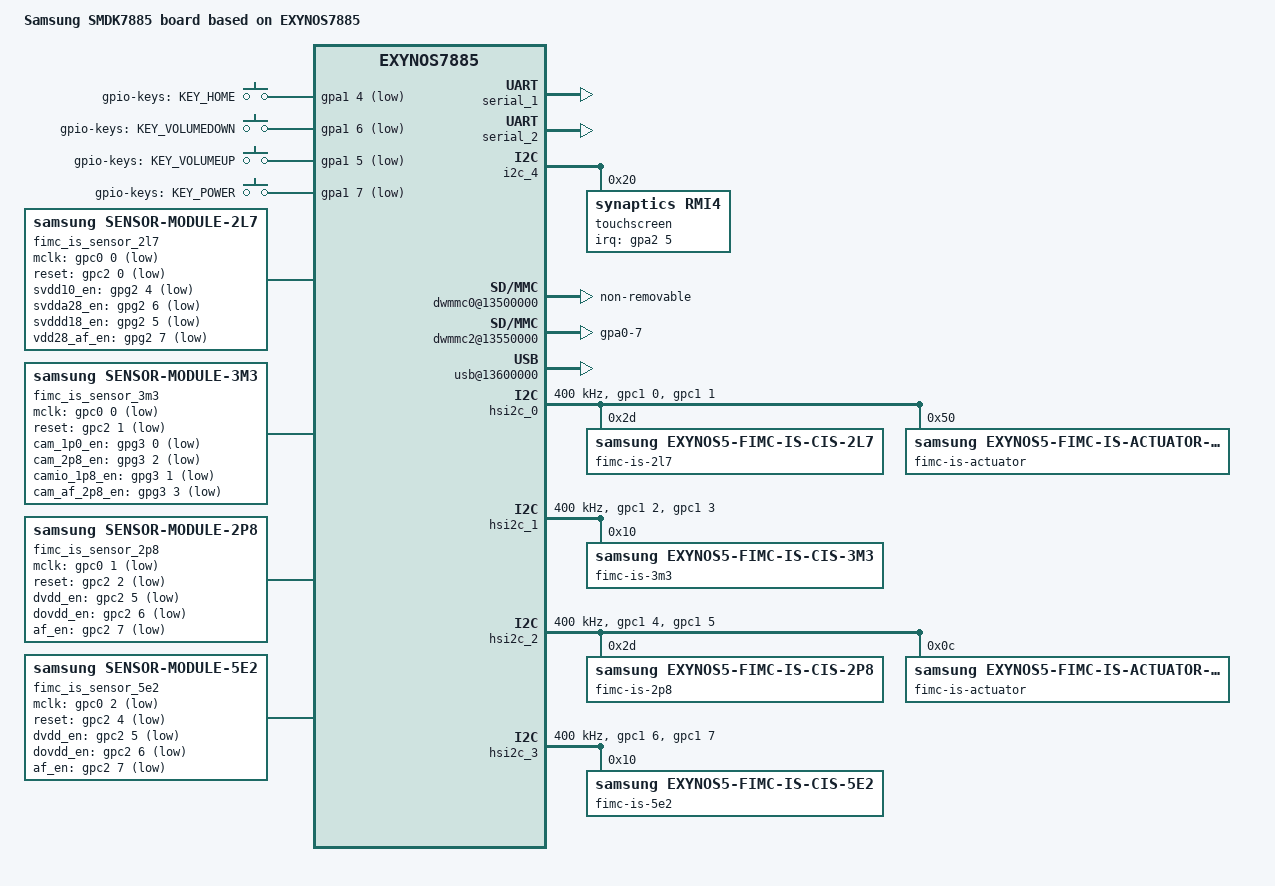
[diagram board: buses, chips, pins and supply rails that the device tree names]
/*
 * SAMSUNG UNIVERSAL7885 board device tree source
 *
 * Copyright (c) 2013 Samsung Electronics Co., Ltd.
 *		http://www.samsung.com
 *
 * This program is free software; you can redistribute it and/or modify
 * it under the terms of the GNU General Public License version 2 as
 * published by the Free Software Foundation.
*/

/dts-v1/;
#include "exynos7885-rmem.dtsi"
#include "exynos7885.dtsi"
#include "exynos7885-display-lcd.dtsi"
#include "modem-s327ap-sipc-pdata.dtsi"
#include "exynos7885-mali.dtsi"

/ {
	model = "Samsung SMDK7885 board based on EXYNOS7885";
	compatible = "samsung,exynos7885", "samsung,SMDK7885";

	memory@80000000 {
		device_type = "memory";

		reg = <0x0 0x80000000 0x80000000>;
	};
	memory@880000000 {
		device_type = "memory";
		reg = <0x00000008 0x80000000 0x40000000>;
	};

	chosen {
		bootargs = "console=ttySAC2 root=/dev/ram0 clk_ignore_unused androidboot.hardware=samsungexynos7885 androidboot.selinux=permissive ess_setup=0x86000000 ecd_setup=normal androidboot.debug_level=0x4948 firmware_class.path=/vendor/firmware reserve-fimc=0xffffff80fa000000 epx_activate=true";
		linux,initrd-start = <0x84000000>;
		linux,initrd-end = <0x840FFFFF>;
	};

	fixed-rate-clocks {
		oscclk {
			compatible = "samsung,exynos7885-oscclk";
			clock-frequency = <26000000>;
		};
	};

    /* USI MODE SETTINGS

       usi_mode = "hsi2c0" or "hsi2c1" or "spi" or "uart"
            or "hsi2c0_hsi2c1" or "uart_hsi2c1"
     */
    usi_2: usi@10032008 {
        usi_mode = "spi";
        status = "okay";
    };


	serial_1: uart@13810000 {
		status = "okay";
	};

	serial_2: uart@13820000 {
		status = "okay";
	};

	i2c_4:i2c@13870000 {
		status = "okay";
		#address-cells = <1>;
		#size-cells = <0>;
		touchscreen@20 {
			compatible = "synaptics,rmi4";
			reg = <0x20>;
			pinctrl-names = "on_state", "off_state";
			pinctrl-0 = <&attn_irq &vdd_on>;
			pinctrl-1 = <&attn_input &vdd_off>;
			synaptics,irq_gpio = <&gpa2 5 0>;
			synaptics,irq_type = <8200>;
			synaptics,max_coords = <1440 2560>;     /* x y */
			synaptics,num_lines = <29 16>;          /* rx tx */
		};
	};

	pinctrl@11CB0000 {
		attn_irq: attn-irq {
			samsung,pins = "gpa2-5";
			samsung,pin-function = <0xf>;
			samsung,pin-pud = <0>;
			samsung,pin-drv = <0>;
		};
		attn_input: attn-input {
			samsung,pins = "gpa2-5";
			samsung,pin-function = <0>;
			samsung,pin-pud = <1>;
		};
	};

	pinctrl@139B0000 {
		vdd_on: vdd-on {
			samsung,pins = "gpg2-2", "gpg2-3";
			samsung,pin-function = <1>;
			samsung,pin-val = <1>;
			samsung,pin-pud = <0>;
		};
		vdd_off: vdd-off {
			samsung,pins = "gpg2-2", "gpg2-3";
			samsung,pin-function = <0>;
			samsung,pin-val = <0>;
			samsung,pin-pud = <1>;
		};
	};

	pinctrl@11CB0000 {
		dwmmc2_cd_ext_irq: dwmmc2_cd_ext_irq {
			samsung,pins = "gpa0-7";
			samsung,pin-function = <0xf>;
			samsung,pin-pud = <3>;
			samsung,pin-drv = <3>;
		};
	};

	dwmmc0@13500000 {
		status = "okay";
		num-slots = <1>;
		broken-cd;
		fixed_voltage;
		supports-highspeed;
		mmc-ddr-1_8v;
		mmc-hs200-1_8v;
		mmc-hs400-1_8v;
		supports-8bit;
		supports-cmd23;
		supports-erase;
		supports-hs400-enhanced-strobe;
		card-init-hwacg-ctrl;
		support-cmdq;
		fifo-depth = <0x40>;
		non-removable;
		desc-size = <4>;
		card-detect-delay = <200>;
		data-timeout = <200>;
		hto-timeout = <80>;
		samsung,dw-mshc-ciu-div = <3>;
		samsung,dw-mshc-txdt-crc-timer-fastlimit = <0x13>;
		samsung,dw-mshc-txdt-crc-timer-initval = <0x15>;
		samsung,dw-mshc-hs400-delay-line = <0x60>;
		samsung,dw-mshc-sdr-timing = <3 0 4 0>;
		samsung,dw-mshc-ddr-timing = <3 0 4 2>;
		samsung,dw-mshc-hs200-timing = <3 0 3 0>;
		samsung,dw-mshc-hs400-timing = <1 0 4 0>;
		samsung,dw-mshc-hs400-ulp-timing = <3 0 4 0>;

		num-ref-clks = <12>;
		ciu_clkin = <25 50 50 25 50 100 200 50 50 200 200 200>;

		/* Swapping clock drive strength */
		clk-drive-number = <4>;
		pinctrl-names = "default",
			"fast-slew-rate-1x",
			"fast-slew-rate-2x",
			"fast-slew-rate-3x",
			"fast-slew-rate-4x";
		pinctrl-0 = <&sd0_clk &sd0_cmd &sd0_rdqs &sd0_bus1 &sd0_bus4 &sd0_bus8>;
		pinctrl-1 = <&sd0_clk_fast_slew_rate_1x>;
		pinctrl-2 = <&sd0_clk_fast_slew_rate_2x>;
		pinctrl-3 = <&sd0_clk_fast_slew_rate_3x>;
		pinctrl-4 = <&sd0_clk_fast_slew_rate_4x>;
		slot@0 {
			reg = <0>;
			bus-width = <8>;
		};

	};

	dwmmc1@13510000 {
		status = "disabled";
		num-slots = <1>;
		channel = <1>;
		fixed_voltage;
		enable-cclk-on-suspend;
		caps-control;
		supports-highspeed;
		supports-4bit;
		keep-power-in-suspend;
		pm-ignore-notify;
		card-detect-type-external;
		use-broken-voltage;
		use-fine-tuning;
		ignore-phase = <(1 << 7)>;
		fifo-depth = <0x40>;
		card-detect-delay = <200>;
		data-timeout = <200>;
		hto-timeout = <80>;
		samsung,dw-mshc-ciu-div = <3>;
		samsung,dw-mshc-sdr-timing = <3 0 2 0>;
		samsung,dw-mshc-ddr-timing = <3 0 2 1>;
		samsung,dw-mshc-sdr50-timing = <3 0 4 2>;
		samsung,dw-mshc-sdr104-timing = <3 0 3 0>;

		num-ref-clks = <9>;
		ciu_clkin = <25 50 50 25 50 100 200 50 50>;

		clk-drive-number = <4>;
		pinctrl-names = "default",
			"fast-slew-rate-1x",
			"fast-slew-rate-2x",
			"fast-slew-rate-3x",
			"fast-slew-rate-4x";
		pinctrl-0 = <&sd1_clk &sd1_cmd &sd1_bus1 &sd1_bus4>;
		pinctrl-1 = <&sd1_clk_fast_slew_rate_1x>;
		pinctrl-2 = <&sd1_clk_fast_slew_rate_2x>;
		pinctrl-3 = <&sd1_clk_fast_slew_rate_3x>;
		pinctrl-4 = <&sd1_clk_fast_slew_rate_4x>;
		slot@0 {
			reg = <0>;
			bus-width = <4>;
		};
	};

	dwmmc2@13550000 {
		status = "okay";
		num-slots = <1>;
		supports-4bit;
		supports-cmd23;
		supports-erase;
		sd-uhs-sdr50;
		sd-uhs-sdr104;
		card-detect-gpio;
		bypass-for-allpass;
		use-fine-tuning;
		card-init-hwacg-ctrl;
		only_once_tune;
		skip-init-mmc-scan;
		ignore-phase = <(1 << 7)>;
		fifo-depth = <0x40>;
		desc-size = <4>;
		card-detect-delay = <200>;
		data-timeout = <200>;
		hto-timeout = <80>;
		samsung,dw-mshc-ciu-div = <3>;
		clock-frequency = <800000000>;
		samsung,dw-mshc-sdr-timing = <3 0 2 0>;
		samsung,dw-mshc-ddr-timing = <3 0 2 1>;
		samsung,dw-mshc-sdr50-timing = <3 0 4 2>;
		samsung,dw-mshc-sdr104-timing = <3 0 3 0>;

		num-ref-clks = <9>;
		ciu_clkin = <25 50 50 25 50 100 200 50 50>;

		/* Swapping clock drive strength */
		clk-drive-number = <4>;
		pinctrl-names = "default",
			"fast-slew-rate-1x",
			"fast-slew-rate-2x",
			"fast-slew-rate-3x",
			"fast-slew-rate-4x";
		pinctrl-0 = <&sd2_clk &sd2_cmd &sd2_bus1 &sd2_bus4 &dwmmc2_cd_ext_irq>;
		pinctrl-1 = <&sd2_clk_fast_slew_rate_1x>;
		pinctrl-2 = <&sd2_clk_fast_slew_rate_2x>;
		pinctrl-3 = <&sd2_clk_fast_slew_rate_3x>;
		pinctrl-4 = <&sd2_clk_fast_slew_rate_4x>;

		card-detect = <&gpa0 7 0xf>;
		slot@0 {
			reg = <0>;
			bus-width = <4>;
			disable-wp;
		};
	};

	dsim_0: dsim@0x14870000 {
		lcd_info = <&s6e3fa0>;
		decon_board = <&decon_board>;
	};

	decon_f: decon_f@0x14860000 {
		psr_mode = <2>;	/* 0: video mode, 1: DP command mode, 2: MIPI command mode */
		trig_mode = <0>;	/* 0: hw trigger, 1: sw trigger */
		dsi_mode = <0>;	/* 0: single dsi, 1: dual dsi */
	};

	decon_board: decon_board {
		gpio_lcd_en1 = <&gpg1 7 0x1>;
		gpio_lcd_en2 = <&gpg2 0 0x1>;
		gpio_lcd_en3 = <&gpg2 1 0x1>;
		gpio_lcd_rst = <&gpg1 1 0x1>;

		dsim_set_panel_power_enable {
			type =
			"gpio,high",	"gpio_lcd_en1",
			"delay,usleep",	"5000 6000",
			"gpio,high",	"gpio_lcd_en2",
			"delay,usleep",	"5000 6000",
			"gpio,high",	"gpio_lcd_en3",
			"delay,usleep",	"5000 6000";
		};
		dsim_set_panel_power_disable {
			type =
			"gpio,low",	"gpio_lcd_rst",
			"gpio,low",	"gpio_lcd_en1",
			"delay,usleep",	"5000 6000",
			"gpio,low",	"gpio_lcd_en2",
			"delay,usleep",	"5000 6000",
			"gpio,low",	"gpio_lcd_en3",
			"delay,usleep",	"5000 6000";
		};
		dsim_reset_panel {
			type =
			"delay,usleep",	"5000 6000",
			"gpio,low",	"gpio_lcd_rst",
			"delay,usleep",	"5000 6000",
			"gpio,high",	"gpio_lcd_rst",
			"delay,usleep",	"5000 6000";
		};
	};

	pinctrl@11CB0000 {
		key_power: key-power {
			samsung,pins = "gpa1-7";
			samsung,pin-function = <0xf>;
			samsung,pin-pud = <0>;
			samsung,pin-drv = <0>;
		};

		key_home: key-home {
			samsung,pins = "gpa1-4";
			samsung,pin-function = <0xf>;
			samsung,pin-pud = <0>;
			samsung,pin-drv = <0>;
		};

		key_voldown: key-voldown {
			samsung,pins = "gpa1-6";
			samsung,pin-function = <0xf>;
			samsung,pin-pud = <0>;
			samsung,pin-drv = <0>;
		};

		key_volup: key-volup {
			samsung,pins = "gpa1-5";
			samsung,pin-function = <0xf>;
			samsung,pin-pud = <0>;
			samsung,pin-drv = <0>;
		};

		pmic_irq: pmic-irq {
			samsung,pins = "gpa2-0";
			samsung,pin-pud = <3>;
			samsung,pin-drv = <3>;
		};
	};

	gpio_keys {
		status = "okay";
		compatible = "gpio-keys";
		#address-cells = <1>;
		#size-cells = <0>;
		pinctrl-names = "default";
		pinctrl-0 = <&key_home &key_voldown &key_volup &key_power>;
		button@1 {
			label = "gpio-keys: KEY_HOME";
			interrupts = <4 0 0>;
			interrupt-parent = <&gpa1>;
			linux,code = <172>;
			gpios = <&gpa1 4 0xf>;
			gpio-key,wakeup = <1>;
		};
		button@2 {
			label = "gpio-keys: KEY_VOLUMEDOWN";
			interrupts = <6 0 0>;
			interrupt-parent = <&gpa1>;
			linux,code = <114>;
			gpios = <&gpa1 6 0xf>;
		};
		button@3 {
			label = "gpio-keys: KEY_VOLUMEUP";
			interrupts = <5 0 0>;
			interrupt-parent = <&gpa1>;
			linux,code = <115>;
			gpios = <&gpa1 5 0xf>;
		};
		button@4 {
			label = "gpio-keys: KEY_POWER";
			interrupts = <7 0 0>;
			interrupt-parent = <&gpa1>;
			linux,code = <116>;
			gpios = <&gpa1 7 0xf>;
			gpio-key,wakeup = <1>;
		};
	};


	pinctrl@139B0000 {
		/* Warm reset information from AP */
		pm_wrsti: pm-wrsti {
			samsung,pins = "gpg1-6";
			samsung,pin-con-pdn = <3>;
		};
	};

	speedy@11CE0000 {
		status = "okay";

		s2mpu08mfd@00 {
			compatible = "samsung,s2mpu08mfd";
			acpm-ipc-channel = <2>;
			i2c-speedy-address;
			s2mpu08,wakeup = "enabled";
			s2mpu08,irq-gpio = <&gpa2 0 0>;
			reg = <0x00>;
			interrupts = <2 0 0>;
			interrupt-parent = <&gpa2>;
			pinctrl-names = "default";
			pinctrl-0 = <&pmic_irq &pm_wrsti>;
			/* RTC: wtsr/smpl */
			wtsr_en = "enabled"; /* enable */
			smpl_en = "enabled"; /* enable */
			wtsr_timer_val = <3>;	/* 1000ms */
			smpl_timer_val = <4>;	/* 500ms */
			check_jigon = <0>; /* do not check jigon */
			/* RTC: If it's first boot, reset rtc to 1/1/2017 12:00:00(Sun) */
			init_time,sec = <0>;
			init_time,min = <0>;
			init_time,hour = <12>;
			init_time,mday = <1>;
			init_time,mon = <0>;
			init_time,year = <117>;
			init_time,wday = <0>;

			regulators {
				b1_reg: BUCK1 {
					regulator-name = "vdd_mif";
					regulator-min-microvolt = <500000>;
					regulator-max-microvolt = <1100000>;
					regulator-always-on;
					regulator-ramp-delay = <12000>;
					regulator-initial-mode = <2>;
				};

				b2_reg: BUCK2 {
					regulator-name = "vdd_cpucl0";
					regulator-min-microvolt = <500000>;
					regulator-max-microvolt = <1300000>;
					regulator-always-on;
					regulator-ramp-delay = <12000>;
					regulator-initial-mode = <1>;
				};

				b3_reg: BUCK3 {
					regulator-name = "vdd_cpucl1_2";
					regulator-min-microvolt = <500000>;
					regulator-max-microvolt = <1300000>;
					regulator-always-on;
					regulator-ramp-delay = <12000>;
					regulator-initial-mode = <1>;
				};

				b4_reg: BUCK4{
					regulator-name = "vdd_int";
					regulator-min-microvolt = <500000>;
					regulator-max-microvolt = <1200000>;
					regulator-always-on;
					regulator-ramp-delay = <12000>;
					regulator-initial-mode = <2>;
				};

				b5_reg: BUCK5 {
					regulator-name = "vdd_g3d";
					regulator-min-microvolt = <500000>;
					regulator-max-microvolt = <1300000>;
					regulator-always-on;
					regulator-ramp-delay = <12000>;
					regulator-initial-mode = <1>;
				};

				b6_reg: BUCK6 {
					regulator-name = "vdd2_mem";
					regulator-min-microvolt = <500000>;
					regulator-max-microvolt = <1300000>;
					regulator-always-on;
					regulator-ramp-delay = <12000>;
					regulator-initial-mode = <3>;
				};

				b7_reg: BUCK7 {
					regulator-name = "vdd_lldo";
					regulator-min-microvolt = <1200000>;
					regulator-max-microvolt = <1500000>;
					regulator-always-on;
					regulator-ramp-delay = <12000>;
					regulator-initial-mode = <3>;
				};

				b8_reg: BUCK8 {
					regulator-name = "vdd_mldo";
					regulator-min-microvolt = <1800000>;
					regulator-max-microvolt = <2100000>;
					regulator-always-on;
					regulator-ramp-delay = <12000>;
					regulator-initial-mode = <3>;
				};

				l1_reg: LDO1 {
					regulator-name = "vdd_ldo1";
					regulator-min-microvolt = <700000>;
					regulator-max-microvolt = <1300000>;
					regulator-always-on;
					regulator-ramp-delay = <12000>;
					regulator-initial-mode = <3>;
				};

				l2_reg: LDO2 {
					regulator-name = "vqmmc";
					regulator-min-microvolt = <1800000>;
					regulator-max-microvolt = <3375000>;
					regulator-ramp-delay = <12000>;
				};

				l3_reg: LDO3 {
					regulator-name = "vdd_ldo3";
					regulator-min-microvolt = <800000>;
					regulator-max-microvolt = <1950000>;
					regulator-always-on;
					regulator-ramp-delay = <12000>;
					regulator-initial-mode = <3>;
				};

				l4_reg: LDO4 {
					regulator-name = "vdd_ldo4";
					regulator-min-microvolt = <500000>;
					regulator-max-microvolt = <1300000>;
					regulator-always-on;
					regulator-ramp-delay = <12000>;
					regulator-initial-mode = <1>;
				};

				l5_reg: LDO5 {
					regulator-name = "vdd_ldo5";
					regulator-min-microvolt = <800000>;
					regulator-max-microvolt = <1350000>;
					regulator-always-on;
					regulator-ramp-delay = <12000>;
					regulator-initial-mode = <3>;
				};

				l6_reg: LDO6 {
					regulator-name = "vdd_ldo6";
					regulator-min-microvolt = <800000>;
					regulator-max-microvolt = <1350000>;
					regulator-always-on;
					regulator-ramp-delay = <12000>;
					regulator-initial-mode = <3>;
				};

				l7_reg: LDO7 {
					regulator-name = "vdd_ldo7";
					regulator-min-microvolt = <800000>;
					regulator-max-microvolt = <1950000>;
					regulator-always-on;
					regulator-ramp-delay = <12000>;
					regulator-initial-mode = <3>;
				};

				l8_reg: LDO8 {
					regulator-name = "vdd_ldo8";
					regulator-min-microvolt = <500000>;
					regulator-max-microvolt = <1300000>;
					regulator-always-on;
					regulator-ramp-delay = <12000>;
					regulator-initial-mode = <3>;
				};

				l9_reg: LDO9 {
					regulator-name = "vdd_ldo9";
					regulator-min-microvolt = <500000>;
					regulator-max-microvolt = <1300000>;
					regulator-always-on;
					regulator-ramp-delay = <12000>;
					regulator-initial-mode = <1>;
				};

				l10_reg: LDO10 {
					regulator-name = "vdd_ldo10";
					regulator-min-microvolt = <500000>;
					regulator-max-microvolt = <1300000>;
					regulator-always-on;
					regulator-ramp-delay = <12000>;
					regulator-initial-mode = <3>;
				};

				l11_reg: LDO11 {
					regulator-name = "vdd_ldo11";
					regulator-min-microvolt = <500000>;
					regulator-max-microvolt = <1300000>;
					regulator-always-on;
					regulator-ramp-delay = <12000>;
					regulator-initial-mode = <3>;
				};

				l12_reg: LDO12 {
					regulator-name = "vdd_ldo12";
					regulator-min-microvolt = <800000>;
					regulator-max-microvolt = <1350000>;
					regulator-always-on;
					regulator-ramp-delay = <12000>;
					regulator-initial-mode = <3>;
				};

				l13_reg: LDO13 {
					regulator-name = "vdd_ldo13";
					regulator-min-microvolt = <800000>;
					regulator-max-microvolt = <1950000>;
					regulator-always-on;
					regulator-ramp-delay = <12000>;
					regulator-initial-mode = <3>;
				};

				l14_reg: LDO14 {
					regulator-name = "vdd_ldo14";
					regulator-min-microvolt = <1800000>;
					regulator-max-microvolt = <3375000>;
					regulator-always-on;
					regulator-ramp-delay = <12000>;
					regulator-initial-mode = <3>;
				};

				l33_reg: LDO33 {
					regulator-name = "vdd_ldo33";
					regulator-min-microvolt = <800000>;
					regulator-max-microvolt = <1950000>;
					regulator-always-on;
					regulator-ramp-delay = <12000>;
					regulator-initial-mode = <3>;
				};

				l34_reg: LDO34 {
					regulator-name = "vdd_ldo34";
					regulator-min-microvolt = <1800000>;
					regulator-max-microvolt = <3375000>;
					regulator-always-on;
					regulator-ramp-delay = <12000>;
					regulator-initial-mode = <3>;
				};

				l35_reg: LDO35 {
					regulator-name = "vmmc";
					regulator-min-microvolt = <1800000>;
					regulator-max-microvolt = <3375000>;
					regulator-ramp-delay = <12000>;
				};

				l36_reg: LDO36 {
					regulator-name = "vdd_ldo36";
					regulator-min-microvolt = <800000>;
					regulator-max-microvolt = <1950000>;
					regulator-ramp-delay = <12000>;
				};

				l37_reg: LDO37 {
					regulator-name = "vdd_ldo37";
					regulator-min-microvolt = <1800000>;
					regulator-max-microvolt = <3375000>;
					regulator-ramp-delay = <12000>;
				};
			};
		};
	};

	exynos_rgt {
		compatible = "samsung,exynos-rgt";
	};

	usb@13600000 {
		status = "okay";
		dwc3 {
			dr_mode = "otg";
			maximum-speed = "high-speed";
		};
	};

	phy@135D0000 {
		status = "okay";

		hs_tune_info = <&usb_hs_tune>;
		ss_tune_info = <&usb_ss_tune>;
	};

	usb_hs_tune:hs_tune {
		status = "disabled";
		/* value = <device host> */
		tx_vref = <0x3 0x3>;
		tx_pre_emp = <0x0 0x0>;
		tx_pre_emp_puls = <0x0 0x0>;
		tx_res	= <0x2 0x2>;
		tx_rise = <0x1 0x1>;
		tx_hsxv = <0x0 0x0>;
		tx_fsls = <0x3 0x3>;
		rx_sqrx = <0x5 0x5>;
		compdis	= <0x3 0x3>;
		otg= <0x2 0x2>;
		/* true : 1, false: 0 */
		/* <enable_user_imp user_imp_value> */
		enable_user_imp = <0 0>;
		/* PHY clk : 1 , FREE clk : 0 */
		is_phyclock = <1>;
	};

	usb_ss_tune:ss_tune {
		status = "disabled";
		/* value = <device host> */
		tx_boost_level = <0x4 0x4>;
		tx_swing_level = <0x1 0x1>;
		tx_swing_full = <0x7F 0x7F>;
		tx_swing_low = <0x7F 0x7F>;
		tx_deemphasis_mode = <0x1 0x1>;
		tx_deemphasis_3p5db = <0x18 0x18>;
		tx_deemphasis_6db = <0x18 0x18>;
		enable_ssc = <0x1 0x1>;
		ssc_range = <0x0 0x1>;
		los_bias = <0x5 0x5>;
		los_mask_val = <0x104 0x104>;
		enable_fixed_rxeq_mode = <0x0 0x0>;
		fix_rxeq_value = <0x4 0x4>;
		set_crport_mpll_charge_pump = <0x0 0x0>;
		set_crport_level_en = <0x0 0x0>;
	};

	mailbox_cp: mcu_ipc@12080000 {
		compatible = "samsung,exynos-shd-ipc-mailbox";
		reg = <0x0 0x12080000 0x180>;
		mcu,name = "mcu_ipc_cp";
		mcu,id = <0>;
		interrupts = <0 55 0 >; /* MAILBOX_CP_TO_AP SPI Number */
	};

	mailbox_gnss: mcu_ipc@120D0000 {
		compatible = "samsung,exynos-shd-ipc-mailbox";
		reg = <0x0 0x120D0000 180>;
		mcu,name = "mcu_ipc_gnss";
		mcu,id = <1>;
		interrupts = <GIC_SPI 56 IRQ_TYPE_NONE>;
	};

	gnss_pdata {
		status = "okay";

		compatible = "samsung,gnss_shdmem_if";
		shmem,name = "KEPLER";
		shmem,device_node_name = "gnss_ipc";

		/* ACTIVE WATCHDOG WAKEUP */
		interrupts = <GIC_SPI 20 IRQ_TYPE_NONE>,
			     <GIC_SPI 165 IRQ_TYPE_NONE>,
			     <GIC_SPI 164 IRQ_TYPE_NONE>;
		interrupt-names = "ACTIVE", "WATCHDOG", "WAKEUP";

		memory-region = <&gnss_reserved>;
		mbox_info = <&mailbox_gnss>;

		mbx,int_ap2gnss_bcmd = <0>;
		mbx,int_ap2gnss_req_fault_info = <1>;
		mbx,int_ap2gnss_ipc_msg = <2>;
		mbx,int_ap2gnss_ack_wake_set = <3>;
		mbx,int_ap2gnss_ack_wake_clr = <4>;

		mbx,irq_gnss2ap_bcmd = <0>;
		mbx,irq_gnss2ap_rsp_fault_info = <1>;
		mbx,irq_gnss2ap_ipc_msg = <2>;
		mbx,irq_gnss2ap_req_wake_clr = <4>;

		mbx,reg_bcmd_ctrl = <0>, <1>, <2>, <3>;

		reg_rx_ipc_msg = <1 5>;
		reg_tx_ipc_msg = <1 4>;
		reg_rx_head = <1 3>;
		reg_rx_tail = <1 2>;
		reg_tx_head = <1 1>;
		reg_tx_tail = <1 0>;
		fault_info = <1 0x200000 0x180000>;

		shmem,ipc_offset = <0x380000>;
		shmem,ipc_size = <0x80000>;
		shmem,ipc_reg_cnt = <32>;
	};

	pinctrl@139B0140 {
		fimc_is_flash: fimc_is_flash {
			samsung,pins = "gpg1-2";
			samsung,pin-function = <1>;
			samsung,pin-val = <1>;
			samsung,pin-pud = <0>;
		};
	};

	fimc_is@14450000 {
		pinctrl-names = "default","release";
		pinctrl-0 = <>;
		pinctrl-1 = <>;

		rear_sensor_id = <35>; /* 2L7 */
		front_sensor_id = <20>; /* 2P8 */
		use_module_check;
		skip_cal_loading;
		fimc_is_dvfs {
			/* TODO: DVFS level set */
			#define DVFS_INT_L0 533000
			#define DVFS_INT_L1 333000
			#define DVFS_INT_L2 267000
			#define DVFS_INT_L3 133000
			#define DVFS_INT_L4 107000

			#define DVFS_CAM_L0 690000
			#define DVFS_CAM_L1 680000
			#define DVFS_CAM_L2 670000
			#define DVFS_CAM_L3 660000
			#define DVFS_CAM_L4 650000

			#define DVFS_MIF_L0 2093000
			#define DVFS_MIF_L1 2002000
			#define DVFS_MIF_L2 1794000
			#define DVFS_MIF_L3 1539000
			#define DVFS_MIF_L4 1352000
			#define DVFS_MIF_L5 1014000
			#define DVFS_MIF_L6 845000
			#define DVFS_MIF_L7 676000
			#define DVFS_MIF_L8 546000
			#define DVFS_MIF_L9 420000

			table0 {
				desc = "default";

				default_int = <DVFS_INT_L0>;
				default_cam = <DVFS_CAM_L0>;
				default_mif = <DVFS_MIF_L5>;
				default_i2c = <0>;

				front_preview_int = <DVFS_INT_L0>;
				front_preview_cam = <DVFS_CAM_L3>;
				front_preview_mif = <DVFS_MIF_L5>;
				front_preview_i2c = <0>;

				front_video_int = <DVFS_INT_L0>;
				front_video_cam = <DVFS_CAM_L3>;
				front_video_mif = <DVFS_MIF_L5>;
				front_video_i2c = <0>;

				front_vt1_int = <DVFS_INT_L0>;
				front_vt1_cam = <DVFS_CAM_L3>;
				front_vt1_mif = <DVFS_MIF_L5>;
				front_vt1_i2c = <0>;

				front_vt2_int = <DVFS_INT_L0>;
				front_vt2_cam = <DVFS_CAM_L3>;
				front_vt2_mif = <DVFS_MIF_L5>;
				front_vt2_i2c = <0>;

				front_vt4_int = <DVFS_INT_L0>;
				front_vt4_cam = <DVFS_CAM_L3>;
				front_vt4_mif = <DVFS_MIF_L5>;
				front_vt4_i2c = <0>;

				rear_preview_int = <DVFS_INT_L0>;
				rear_preview_cam = <DVFS_CAM_L0>;
				rear_preview_mif = <DVFS_MIF_L5>;
				rear_preview_i2c = <0>;

				rear_video_int = <DVFS_INT_L0>;
				rear_video_cam = <DVFS_CAM_L0>;
				rear_video_mif = <DVFS_MIF_L5>;
				rear_video_i2c = <0>;

				preview_high_speed_fps_int = <DVFS_INT_L0>;
				preview_high_speed_fps_cam = <DVFS_CAM_L3>;
				preview_high_speed_fps_mif = <DVFS_MIF_L5>;
				preview_high_speed_fps_i2c = <0>;

				video_high_speed_60fps_int = <DVFS_INT_L0>;
				video_high_speed_60fps_cam = <DVFS_CAM_L2>;
				video_high_speed_60fps_mif = <DVFS_MIF_L5>;
				video_high_speed_60fps_i2c = <0>;

				video_high_speed_120fps_int = <DVFS_INT_L0>;
				video_high_speed_120fps_cam = <DVFS_CAM_L3>;
				video_high_speed_120fps_mif = <DVFS_MIF_L5>;
				video_high_speed_120fps_i2c = <0>;

				max_int = <DVFS_INT_L0>;
				max_cam = <DVFS_CAM_L0>;
				max_mif = <DVFS_MIF_L5>;
				max_i2c = <0>;
			};

			table1 {
				desc = "DVFS table for HAL3";

				default_int = <DVFS_INT_L0>;
				default_cam = <DVFS_CAM_L0>;
				default_mif = <DVFS_MIF_L5>;
				default_i2c = <0>;

				front_preview_int = <DVFS_INT_L0>;
				front_preview_cam = <DVFS_CAM_L3>;
				front_preview_mif = <DVFS_MIF_L5>;
				front_preview_i2c = <0>;

				front_video_int = <DVFS_INT_L0>;
				front_video_cam = <DVFS_CAM_L3>;
				front_video_mif = <DVFS_MIF_L5>;
				front_video_i2c = <0>;

				front_vt1_int = <DVFS_INT_L0>;
				front_vt1_cam = <DVFS_CAM_L3>;
				front_vt1_mif = <DVFS_MIF_L5>;
				front_vt1_i2c = <0>;

				front_vt2_int = <DVFS_INT_L0>;
				front_vt2_cam = <DVFS_CAM_L3>;
				front_vt2_mif = <DVFS_MIF_L5>;
				front_vt2_i2c = <0>;

				front_vt4_int = <DVFS_INT_L0>;
				front_vt4_cam = <DVFS_CAM_L3>;
				front_vt4_mif = <DVFS_MIF_L5>;
				front_vt4_i2c = <0>;

				rear_preview_int = <DVFS_INT_L0>;
				rear_preview_cam = <DVFS_CAM_L0>;
				rear_preview_mif = <DVFS_MIF_L5>;
				rear_preview_i2c = <0>;

				rear_video_int = <DVFS_INT_L0>;
				rear_video_cam = <DVFS_CAM_L0>;
				rear_video_mif = <DVFS_MIF_L5>;
				rear_video_i2c = <0>;

				preview_high_speed_fps_int = <DVFS_INT_L0>;
				preview_high_speed_fps_cam = <DVFS_CAM_L3>;
				preview_high_speed_fps_mif = <DVFS_MIF_L5>;
				preview_high_speed_fps_i2c = <0>;

				video_high_speed_60fps_int = <DVFS_INT_L0>;
				video_high_speed_60fps_cam = <DVFS_CAM_L3>;
				video_high_speed_60fps_mif = <DVFS_MIF_L5>;
				video_high_speed_60fps_i2c = <0>;

				video_high_speed_120fps_int = <DVFS_INT_L0>;
				video_high_speed_120fps_cam = <DVFS_CAM_L3>;
				video_high_speed_120fps_mif = <DVFS_MIF_L5>;
				video_high_speed_120fps_i2c = <0>;

				max_int = <DVFS_INT_L0>;
				max_cam = <DVFS_CAM_L0>;
				max_mif = <DVFS_MIF_L5>;
				max_i2c = <0>;
			};
		};
	};

	fimc_is_sensor_2l7: fimc-is_sensor_2l7@20 {
		compatible = "samsung,sensor-module-2l7";

		pinctrl-names = "pin0", "pin1", "pin2", "release";
		pinctrl-0 = <>;
		pinctrl-1 = <&fimc_is_mclk0_out>;
		pinctrl-2 = <&fimc_is_mclk0_fn>;
		pinctrl-3 = <>;

		position = <0>;	/* Rear:0. Front:1 */
		id = <0>; /* bns_id */
		mclk_ch = <0>;

		gpio_mclk = <&gpc0 0 0x1>;
		gpio_reset = <&gpc2 0 0x1>; /* sensor reset */
		gpio_svdd10_en = <&gpg2 4 0x1>; /* CAM_SVDD10_EN */
		gpio_svdda28_en = <&gpg2 6 0x1>; /* CAM_SVDDA28_EN */
		gpio_svddd18_en = <&gpg2 5 0x1>; /* CAM_SVDDD18_EN */
		gpio_vdd28_af_en = <&gpg2 7 0x1>; /* CAM_SVDDD18_EN */
		status = "okay";

		/* TODO: AF, Flash node */
		af {
			product_name = <12>; /* ak7371 */
			i2c_addr = <0x18>;
			i2c_ch = <0>; /* I2C 0 */
		};

	};

	fimc_is_sensor_3m3: fimc-is_sensor_3m3@20 {
		compatible = "samsung,sensor-module-3m3";

		pinctrl-names = "pin0", "pin1", "pin2", "release";
		pinctrl-0 = <>;
		pinctrl-1 = <&fimc_is_mclk0_out>;
		pinctrl-2 = <&fimc_is_mclk0_fn>;
		pinctrl-3 = <>;

		position = <3>;	/* Rear:0. Front:1 */
		id = <1>; /* bns_id */
		mclk_ch = <0>;

		gpio_mclk = <&gpc0 0 0x1>;
		gpio_reset = <&gpc2 1 0x1>; /* sensor reset */
		gpio_cam_1p0_en = <&gpg3 0 0x1>; /* CAM_SVDD10_EN */
		gpio_cam_2p8_en = <&gpg3 2 0x1>; /* CAM_SVDDA28_EN */
		gpio_camio_1p8_en = <&gpg3 1 0x1>; /* CAM_SVDDD18_EN */
		gpio_cam_af_2p8_en = <&gpg3 3 0x1>; /* CAM_SVDDD18_EN */

		power_seq_id = <1>;

		status = "okay";

		/* TODO: AF, Flash node */
		af {
			product_name = <100>; /* ak7371 */
		};

	};

	fimc_is_sensor_2p8: fimc-is_sensor_2p8@5A {
		compatible = "samsung,sensor-module-2p8";

		pinctrl-names = "pin0", "pin1", "pin2", "release";
		pinctrl-0 = <>;
		pinctrl-1 = <&fimc_is_mclk1_out>;
		pinctrl-2 = <&fimc_is_mclk1_fn>;
		pinctrl-3 = <>;

		position = <1>;	/* Rear:0. Front:1 */
		id = <2>; /* bns_id */
		mclk_ch = <1>;

		gpio_mclk = <&gpc0 1 0x1>;
		gpio_reset = <&gpc2 2 0x1>; /* sensor reset */
		gpio_dvdd_en = <&gpc2 5 0x1>; /* FRONT_CAM_DVDD_1V2_EN */
		gpio_dovdd_en = <&gpc2 6 0x1>; /* FRONT_CAM_DOVDD_1V8_EN */
		gpio_af_en = <&gpc2 7 0x1>; /* FRONT_CAM_AF_2V8_EN */
		status = "okay";

		af {
			product_name = <7>;
			i2c_addr = <0x18>;
			i2c_ch = <1>; /* I2C 1 */
		};
	};

	fimc_is_sensor_5e2: fimc-is_sensor_5e2@20 {
		compatible = "samsung,sensor-module-5e2";

		pinctrl-names = "pin0", "pin1", "pin2", "release";
		pinctrl-0 = <>;
		pinctrl-1 = <&fimc_is_mclk2_out>;
		pinctrl-2 = <&fimc_is_mclk2_fn>;
		pinctrl-3 = <>;

		position = <3>; /* Rear:0. Front:1. Rear_sub:2. Secure:3. */
		id = <3>; /* fimc_is_sensor id */
		mclk_ch = <2>;

		gpio_mclk = <&gpc0 2 0x1>;
		gpio_reset = <&gpc2 4 0x1>; /* sensor reset */
		gpio_dvdd_en = <&gpc2 5 0x1>; /* FRONT_CAM_DVDD_1V2_EN */
		gpio_dovdd_en = <&gpc2 6 0x1>; /* FRONT_CAM_DOVDD_1V8_EN */
		gpio_af_en = <&gpc2 7 0x1>; /* FRONT_CAM_AF_2V8_EN */
		status = "okay";

		/* TODO: AF, Flash node */
		af {
			product_name = <100>; /* ak7371 */
		};
	};

	#define SENSOR_SCENARIO_NORMAL		0
	#define SENSOR_SCENARIO_VISION		1
	#define SENSOR_SCENARIO_EXTERNAL	2
	#define SENSOR_SCENARIO_OIS_FACTORY	3
	#define SENSOR_SCENARIO_VIRTUAL		9
	#define FLITE_ID_NOTHING 100

	fimc_is_sensor0: fimc_is_sensor@14410000 {
		scenario = <SENSOR_SCENARIO_NORMAL>;	/* Normal, Vision, OIS etc */
		id = <0>;
		csi_ch = <1>;
		flite_ch = <FLITE_ID_NOTHING>;
		is_bns = <0>;
		is_flite = <0>;
		status = "okay";
	};

	fimc_is_sensor1: fimc_is_sensor@14400000 {
		scenario = <SENSOR_SCENARIO_NORMAL>;	/* Normal, Vision, OIS etc */
		id = <1>;
		csi_ch = <0>;
		flite_ch = <FLITE_ID_NOTHING>;
		is_bns = <0>;
		is_flite = <0>;
		status = "okay";
	};

	fimc_is_sensor2: fimc_is_sensor@14420000 {
		scenario = <SENSOR_SCENARIO_NORMAL>;	/* Normal, Vision, OIS etc */
		id = <2>;
		csi_ch = <2>;
		flite_ch = <FLITE_ID_NOTHING>;
		is_bns = <0>;
		is_flite = <0>;
		status = "okay";
	};

	fimc_is_sensor3: fimc_is_sensor@14430000 {
		scenario = <SENSOR_SCENARIO_NORMAL>;	/* Normal, Vision, OIS etc */
		id = <3>;
		csi_ch = <3>;
		flite_ch = <FLITE_ID_NOTHING>;
		is_bns = <0>;
		is_flite = <0>;
		status = "okay";
	};

	hsi2c_0: hsi2c@138A0000 {
		gpios = <&gpc1 0 0 &gpc1 1 0>;
		status = "okay";
		clock-frequency = <400000>;

		pinctrl-names = "on_i2c";
		pinctrl-0 = <&hs_i2c0_bus>;

		fimc-is-2l7@2d {
		     compatible = "samsung,exynos5-fimc-is-cis-2l7";
		     reg = <0x2d>; /* 1 bit right shift */
		     id = <0>; /* matching sensor id */
		     setfile = "setB";
		};

		fimc-is-actuator@50 {
		     compatible = "samsung,exynos5-fimc-is-actuator-ak7371";
		     reg = <0x50>;
		     id = <0>;
		     place = <0>;
		};
	};

	hsi2c_1: hsi2c@138B0000 {
		gpios = <&gpc1 2 0 &gpc1 3 0>;
		status = "okay";
		clock-frequency = <400000>;

		pinctrl-names = "on_i2c";
		pinctrl-0 = <&hs_i2c1_bus>;

		fimc-is-3m3@2d {
		     compatible = "samsung,exynos5-fimc-is-cis-3m3";
		     reg = <0x10>; /* 1 bit right shift */
		     id = <1>; /* matching sensor id */
		     setfile = "default";
		};
	};

	hsi2c_2: hsi2c@138C0000 {
		gpios = <&gpc1 4 0 &gpc1 5 0>;
		status = "okay";
		clock-frequency = <400000>;

		pinctrl-names = "on_i2c";
		pinctrl-0 = <&hs_i2c2_bus>;

		fimc-is-2p8@2D {
		     compatible = "samsung,exynos5-fimc-is-cis-2p8";
		     reg = <0x2d>; /* 1 bit right shift */
		     id = <2>; /* matching sensor id */
		     setfile = "default";
		};

		fimc-is-actuator@0C {
		     compatible = "samsung,exynos5-fimc-is-actuator-ak7345";
		     reg = <0x0C>;
		     id = <2>;
		     place = <1>;
		};

	};

	hsi2c_3: hsi2c@138D0000 {
		gpios = <&gpc1 6 0 &gpc1 7 0>;
		status = "okay";
		clock-frequency = <400000>;

		pinctrl-names = "on_i2c";
		pinctrl-0 = <&hs_i2c3_bus>;

		fimc-is-5e2@2D {
		     compatible = "samsung,exynos5-fimc-is-cis-5e2";
		     reg = <0x10>; /* 1 bit right shift */
		     id = <3>; /* matching sensor id */
		     setfile = "default";
		};
	};
};

#include "exynos7885-ecd.dtsi"
